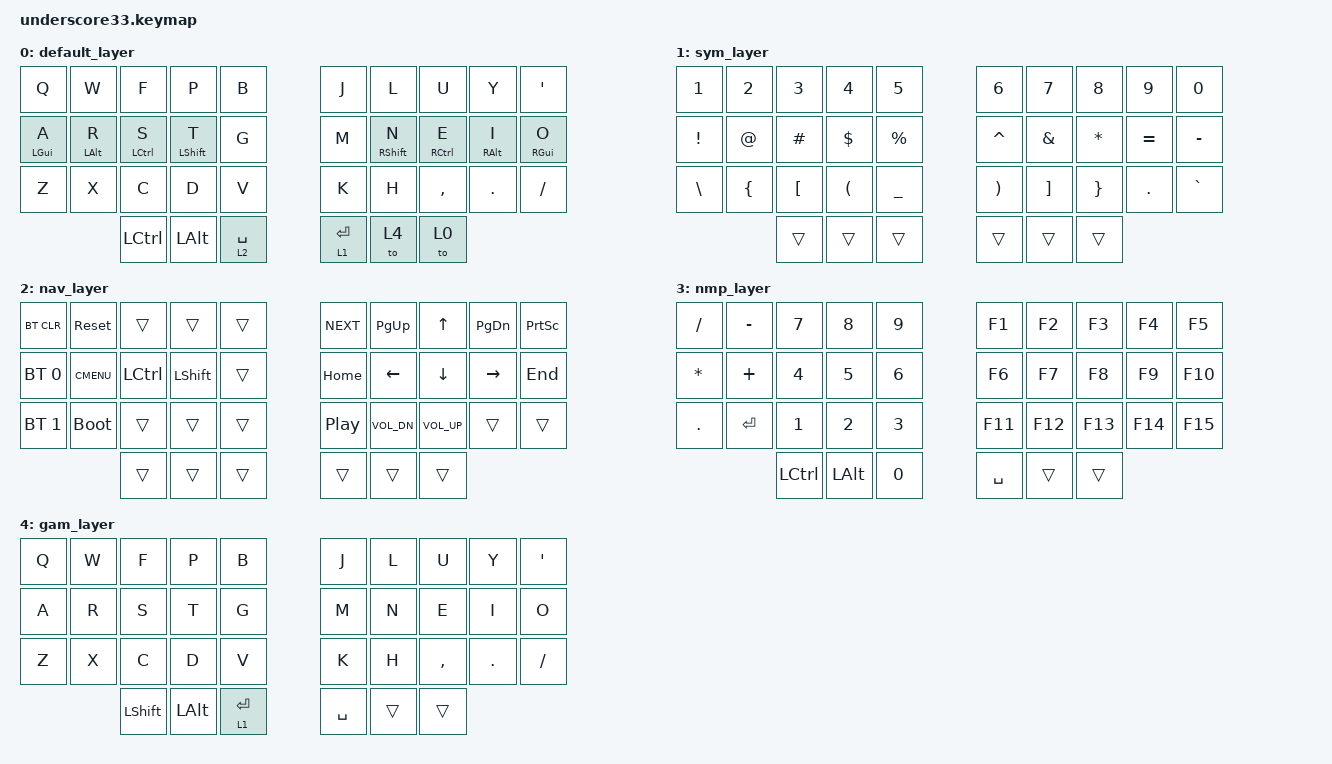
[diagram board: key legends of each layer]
/*
 * Copyright (c) 2020 The ZMK Contributors
 *
 * SPDX-License-Identifier: MIT
 */

// This key-map file WILL NOT WORK FOR YOU, you will need to modify it. I really do not recommend adapting to it.
// This key-map file is set-up to be the split space layout.
// I strongly urge you to customise your firmware to suit your usage.
// Please feel free to join the ZMK server at https://discord.gg/TdRMQaTYdF for help.

#include <behaviors.dtsi>
#include <dt-bindings/zmk/keys.h>
#include <dt-bindings/zmk/bt.h>

/ {

behaviors {
      hm: homerow_mods {
        compatible = "zmk,behavior-hold-tap";
        label = "HOMEROW_MODS";
        #binding-cells = <2>;
        tapping_term_ms = <300>;
        flavor = "tap-preferred";
        bindings = <&kp>, <&kp>;
    }; 

gqt: global-quick-tap {
    compatible = "zmk,behavior-hold-tap";
    label = "GLOBAL_QUICK_TAP";
    #binding-cells = <2>;
    flavor = "tap-preferred";
    tapping-term-ms = <200>;
    quick-tap-ms = <125>;
    global-quick-tap;
    bindings = <&kp>, <&kp>;
};

    combos {
    compatible = "zmk,combos";
    combo_del {
        timeout-ms = <50>;
        key-positions = <18 19>;
        bindings = <&kp DEL>;
        layers = <1>;
    };
    combo_bspc {
        timeout-ms = <50>;
        key-positions = <8 9>;
        bindings = <&kp BKSP>;
        layers = <0 1 3 4>;
    };
    combo_tab {
        timeout-ms = <50>;
        key-positions = <0 1>;
        bindings = <&kp TAB>;
        layers = <0 3 4>;

    };
    combo_esc {
        timeout-ms = <50>;
        key-positions = <1 2>;
        bindings = <&kp ESC>;
        layers = <0 3 4>;

    };
    combo_semi {
        timeout-ms = <50>;
        key-positions = <18 19>;
        bindings = <&kp SEMI>;
        layers = <0>;

    };
    combo_num {
        timeout-ms = <50>;
        key-positions = <34 35>;
        bindings = <&to 3>;
        layers = <0 4>;
        
    };
    combo_plus {
        timeout-ms = <50>;
        key-positions = <7 8>;
        bindings = <&kp PLUS>;
        layers = <1>;        
    };
};

};
        keymap {
                compatible = "zmk,keymap";

                default_layer {
// -----------------------------------------------------------------------------------------
// |  Q  |  W  |  F  |  P  |  B   |  J  |  L   |  I  |  O  |  P  |
// |  A  |  R  |  S  |  T  |  G   |  M  |  N   |  E  |  I  |  O  |
// |  Z  |  X  |  C  |  D  |  V   |  K  |  H   |  ,  |  .  |  /  |
//             | CTL | ALT |  ENT | SPC | GUI  | CTL |
                        bindings = <
   &kp Q &kp W &kp F &kp P &kp B   &kp J &kp L   &kp U    &kp Y   &kp APOS
   &hm LGUI A &hm LALT R &hm LCTRL S &hm LSHFT T &kp G   &kp M &hm RSHFT N  &hm RCTRL E  &hm RALT I  &hm RGUI O
   &kp Z &kp X &kp C &kp D &kp V   &kp K &kp H  &kp COMMA &kp DOT &kp FSLH
   &kp LCTRL &kp LALT &lt 2 SPC &lt 1 RET &to 4 &to 0
                        >;
                };

                sym_layer {
// -----------------------------------------------------------------------------------------
// |  1  |  2  |  3  |  4  |  5  |  6  |  7  |  8  |  9  |  0  |
// |  !  |  @  |  #  |  $  |  %  |  ^  |  &  |  *  |  =  |  -  |
// |  \  |  {  |  [  |  (  |  _  |  )  |  ]  |  }  |  .  |  `  |
//             | CTL | ALT |  ENT | SPC | GUI  | CTL |
                        bindings = <
   &kp N1    &kp N2    &kp N3    &kp N4      &kp N5      &kp N6    &kp N7    &kp N8    &kp N9     &kp N0
   &kp EXCL  &kp AT    &kp HASH  &kp DOLLAR  &kp PRCNT   &kp CARET &kp AMPS  &kp STAR  &kp EQUAL  &kp MINUS
   &kp BSLH  &kp LBRC  &kp LBKT  &kp LPAR    &kp UNDER   &kp RPAR  &kp RBKT  &kp RBRC  &kp DOT    &kp GRAVE
   &trans    &trans    &trans    &trans      &trans      &trans
                        >;
                };

                nav_layer {
// -----------------------------------------------------------------------------------------
// |BTCLR| RST |     |      |     | NEXT | PGDN |  UP  | PGUP |PSCRN |
// | BT0 |CMENU|     |      |     | HOME | LEFT | DOWN |RIGHT | END  |
// | BT1 | BOOT|     |      |     |playpa|vol dn|vol up|      |      |
//             | CTL | ALT |  ENT | SPC | GUI  | CTL |
                        bindings = <
   &bt BT_CLR   &sys_reset      &trans    &trans    &trans     &kp C_NEXT &kp PG_UP    &kp UP       &kp PG_DN &kp PSCRN
   &bt BT_SEL 0 &kp K_CMENU &kp LCTRL &kp LSHFT &trans     &kp HOME   &kp LEFT     &kp DOWN     &kp RIGHT &kp END
   &bt BT_SEL 1 &bootloader &trans    &trans    &trans     &kp C_PP   &kp C_VOL_DN &kp C_VOL_UP &trans    &trans
   &trans   &trans    &trans     &trans   &trans   &trans
                        >;
                };

                nmp_layer {
// -----------------------------------------------------------------------------------------
// |  /  |  -  |  7  |  8  |  9   |  S  |  I   |  T  |  F5  |  F6  |
// |  *  |  +  |  4  |  5  |  6   |  D  |  O   |  W  |  F3  |  F4  |
// |  .  | ENT |  1  |  2  |  3   |  N  |  Y   |  <  |  F1  |  F2  |
//             | CTL | ALT |  0 | SPC | GUI  | CTL |
                        bindings = <
   &kp FSLH  &kp MINUS &kp N7   &kp N8      &kp N9     &kp F1    &kp F2    &kp F3    &kp F4     &kp F5
   &kp STAR  &kp PLUS  &kp N4   &kp N5      &kp N6     &kp F6    &kp F7    &kp F8    &kp F9     &kp F10
   &kp DOT   &kp RET   &kp N1   &kp N2      &kp N3     &kp F11   &kp F12   &kp F13   &kp F14    &kp F15
   &kp LCTRL    &kp LALT    &kp N0    &kp SPC     &trans      &trans
                        >;
                };
                gam_layer {
// -----------------------------------------------------------------------------------------
// |  Q  |  W  |  F  |  P  |  B   |  J  |  L   |  I  |  O  |  P  |
// |  A  |  R  |  S  |  T  |  G   |  M  |  N   |  E  |  I  |  O  |
// |  Z  |  X  |  C  |  D  |  V   |  K  |  H   |  ,  |  .  |  /  |
//             | CTL | ALT |  ENT | SPC | GUI  | CTL |
                        bindings = <
   &kp Q &kp W &kp F &kp P &kp B   &kp J &kp L   &kp U     &kp Y  &kp APOS
   &kp A &kp R &kp S &kp T &kp G   &kp M &kp N   &kp E     &kp I  &kp O
   &kp Z &kp X &kp C &kp D &kp V   &kp K &kp H   &kp COMMA &kp DOT &kp FSLH
   &kp LSHFT &kp LALT &lt 1 RET &kp SPC &trans  &trans
                        >;
                };

        };
};
